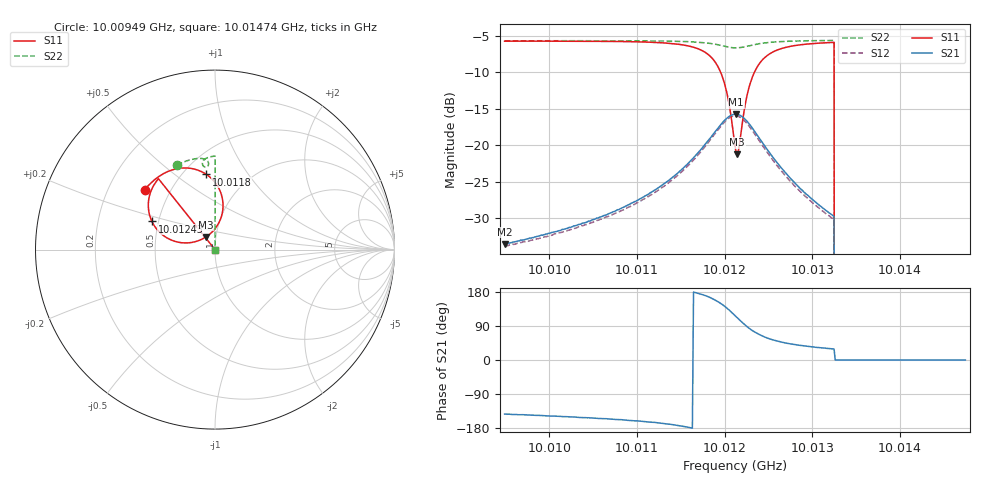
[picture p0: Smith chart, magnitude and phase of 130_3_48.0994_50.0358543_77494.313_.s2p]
#  HZ  S  RI  R  50.00
! Rohde & Schwarz Vector Network Analyzer
! Rohde-Schwarz,ZNB20-2Port,1311601062101988,3.16
! Created: UTC 12/23/2023, 3:47:40 AM
! freq[Hz]  re:S11  im:S11  re:S21  im:S21  re:S12  im:S12  re:S22  im:S22
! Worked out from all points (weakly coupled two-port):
!   401 points, 10.00949 GHz to 10.01474 GHz, reference 50 ohm
!   highest |S21| = -15.77 dB at 10.01213 GHz (marker M1); lowest = -33.6 dB at 10.00949 GHz (marker M2)
!   lowest |S11| = -21.3 dB at 10.01214 GHz (marker M3), VSWR 1.19, Z = 44.7 + j6.31 ohm
!   |S11| at or under -10 dB: 10.01195 GHz to 10.01234 GHz (387.2 kHz wide, 0.00387 % of centre); 10.01325 GHz to end of sweep
!   |S22| runs from - to -5.7 dB; largest |S21 - S12| = 0.0079
!   S11 on the Smith chart (normalised r, x): 10.00949 GHz: 0.36, +0.33; 10.0118 GHz: 0.65, +0.66; 10.01243 GHz: 0.46, +0.17; 10.01474 GHz: 1.00, +0.00
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1.000949e10  -0.3917 0.3341  -0.0167 -0.0127  -0.0156 -0.013  -0.2123 0.4725
1.001037e10  -0.3366 0.3893  -0.0256 -0.0138  -0.024 -0.0145  -0.1575 0.4942
1.001125e10  -0.2352 0.445  -0.0498 -0.0124  -0.0473 -0.0144  -0.0956 0.5078
1.0011552e10  -0.1597 0.455  -0.0718 -0.00473  -0.0689 -0.00827  -0.07 0.5073
1.0011802e10  -0.048 0.419  -0.103 0.0218  -0.1009 0.0162  -0.0459 0.4979
1.0011907e10  0.0119 0.3575  -0.1161 0.0517  -0.1156 0.0438  -0.0375 0.4874
1.0011985e10  0.0426 0.2753  -0.1177 0.0847  -0.1181 0.0773  -0.0359 0.4759
1.0012051e10  0.0362 0.1855  -0.1043 0.1174  -0.1067 0.1102  -0.0397 0.4662
1.0012117e10  -0.0172 0.097  -0.0744 0.1448  -0.0783 0.1381  -0.0491 0.4606
1.001213e10  -0.0336 0.0824  -0.0667 0.1485  -0.0707 0.1419  -0.0514 0.4602
1.0012143e10  -0.0508 0.07  -0.0592 0.1513  -0.0632 0.145  -0.0539 0.4602
1.0012169e10  -0.0893 0.0507  -0.0433 0.1545  -0.0471 0.1486  -0.0582 0.4612
1.0012235e10  -0.1881 0.0385  -0.0046 0.1496  -0.00907 0.1444  -0.0667 0.4679
1.0012288e10  -0.2549 0.0585  0.0191 0.1362  0.0135 0.1315  -0.0699 0.4756
1.0012353e10  -0.313 0.1009  0.0368 0.1155  0.0318 0.1118  -0.0696 0.4851
1.0012432e10  -0.3516 0.1568  0.047 0.0921  0.0415 0.0899  -0.0655 0.4948
1.0012682e10  -0.3686 0.2831  0.0461 0.0468  0.0417 0.0466  -0.0445 0.5111
1.0012997e10  -0.3398 0.3605  0.035 0.0242  0.0321 0.0245  -0.0182 0.5186
1.001322e10  -0.3176 0.3921  0.0289 0.0165  0.0268 0.017  -0.00123 0.5207
1.0013286e10  0 0  0 0  0 0  0 0
1.0013877e10  0 0  0 0  0 0  0 0
1.0014744e10  0 0  0 0  0 0  0 0
